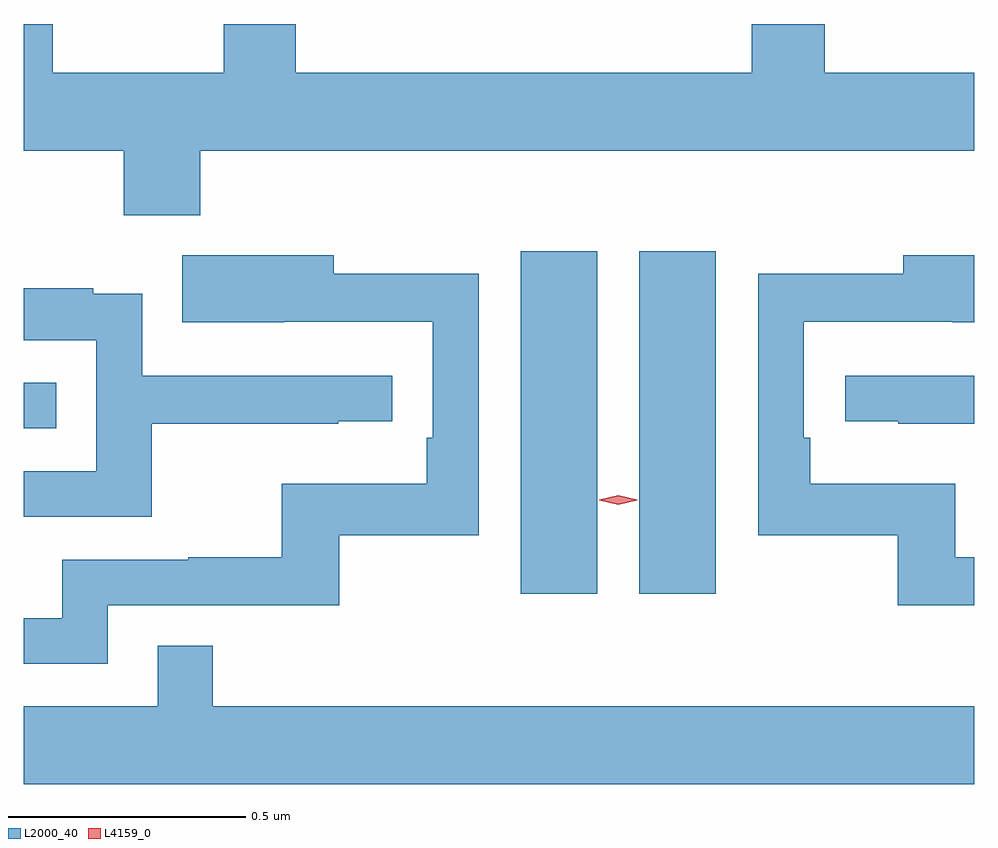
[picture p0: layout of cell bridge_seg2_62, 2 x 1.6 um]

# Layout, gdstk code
import gdstk
lib = gdstk.Library(unit=1e-6, precision=1e-09)
def R(c, l, rs):  # rectangles x0, y0, x1, y1
    for r in rs: c.add(gdstk.rectangle(r[:2], r[2:], *l))
def P(c, l, *ps):  # polygons
    for p in ps: c.add(gdstk.Polygon(p, *l))
L2000_40 = (2000, 40)
L4159_0 = (4159, 0)

bridge_seg2_62 = lib.new_cell('bridge_seg2_62')
R(bridge_seg2_62, L2000_40, [(1108.163,653.364,1108.324,654.085), (1108.412,653.364,1108.573,654.085), (1107.117,653.712,1107.185,653.808)])
P(bridge_seg2_62, L2000_40, [(1107.488,654.296),(1109.117,654.296),(1109.117,654.46),(1108.802,654.46),(1108.802,654.563),(1108.649,654.563),(1108.649,654.46),(1107.689,654.46),(1107.689,654.563),(1107.538,654.563),(1107.538,654.46),(1107.178,654.46),(1107.178,654.563),(1107.117,654.563),(1107.117,654.296),(1107.328,654.296),(1107.328,654.161),(1107.488,654.161)],
  [(1109.117,653.441),(1109.077,653.441),(1109.077,653.596),(1108.772,653.596),(1108.772,653.692),(1108.758,653.692),(1108.758,653.937),(1109.071,653.937),(1109.071,653.936),(1109.117,653.936),(1109.117,654.076),(1108.967,654.076),(1108.967,654.038),(1108.662,654.038),(1108.662,653.487),(1108.956,653.487),(1108.956,653.34),(1109.117,653.34)],
  [(1107.294,653.34),(1107.781,653.34),(1107.781,653.487),(1108.074,653.487),(1108.074,654.038),(1107.769,654.038),(1107.769,654.076),(1107.451,654.076),(1107.451,653.936),(1107.665,653.936),(1107.665,653.937),(1107.978,653.937),(1107.978,653.692),(1107.965,653.692),(1107.965,653.596),(1107.66,653.596),(1107.66,653.441),(1107.463,653.441),(1107.463,653.436),(1107.198,653.436),(1107.198,653.313),(1107.117,653.313),(1107.117,653.217),(1107.294,653.217)],
  [(1107.386,653.722),(1107.779,653.722),(1107.779,653.727),(1107.892,653.727),(1107.892,653.823),(1107.366,653.823),(1107.366,653.995),(1107.263,653.995),(1107.263,654.007),(1107.117,654.007),(1107.117,653.898),(1107.27,653.898),(1107.27,653.622),(1107.117,653.622),(1107.117,653.526),(1107.386,653.526)],
  [(1109.117,653.823),(1108.845,653.823),(1108.845,653.727),(1108.957,653.727),(1108.957,653.722),(1109.117,653.722)],
  [(1109.117,653.128),(1107.515,653.128),(1107.515,653.255),(1107.399,653.255),(1107.399,653.128),(1107.117,653.128),(1107.117,652.964),(1109.117,652.964)])
P(bridge_seg2_62, L4159_0, [(1108.368,653.552),(1108.328,653.561),(1108.328,653.562),(1108.328,653.562),(1108.368,653.572),(1108.408,653.562),(1108.408,653.562),(1108.408,653.561)])

lib.write_gds('bridge_seg2_62.gds')
